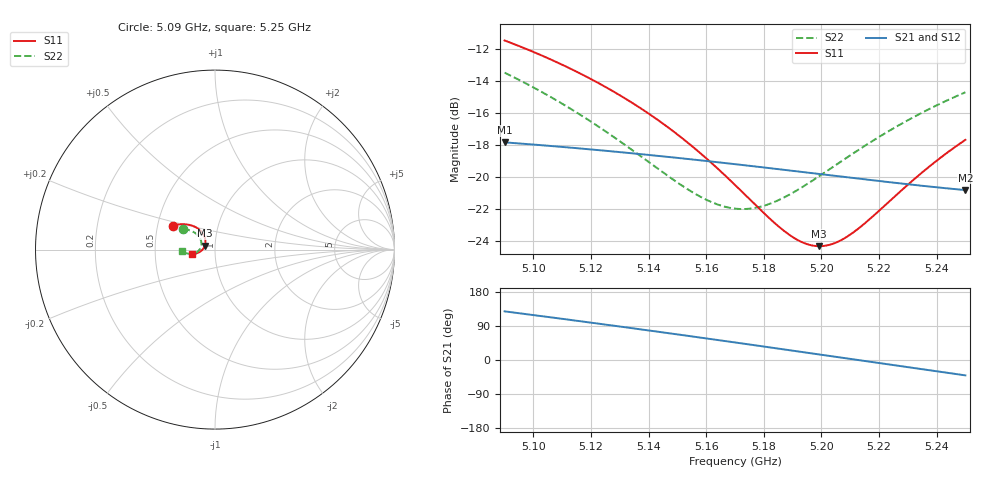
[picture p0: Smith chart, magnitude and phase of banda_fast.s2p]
! Touchstone file exported from HFSS 2024.2.0
!  File:  D:/dev/EMBRAER/P2M21/R12_Quatro_8Passes_Fast/antena/P2M21_4_elementos.aedt
!  Generated:  05:20:02 PM Nov  9, 2026
!  Design:  Quatro_elementos
!  Project:  P2M21_4_elementos
!  Setup:  Centro
!  Solution:  Banda_Fast
# GHz S RI R 50.000000
! Terminal data exported
! Port[1] = A
! Port[2] = B
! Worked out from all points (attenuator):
!   161 points, 5.09 GHz to 5.25 GHz, reference 50 ohm
!   highest |S21| = -17.82 dB at 5.09 GHz (marker M1); lowest = -20.8 dB at 5.25 GHz (marker M2)
!   lowest |S11| = -24.3 dB at 5.199 GHz (marker M3), VSWR 1.13, Z = 44.6 + j1.89 ohm
!   |S11| at or under -10 dB: start of sweep to end of sweep
!   |S22| runs from -22.0 to -13.5 dB; largest |S21 - S12| = 1.1e-15
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5.09  -0.2326 0.1329  -0.0798 0.1008  -0.0798 0.1008  -0.1795 0.1135
! Gamma 0 0 0 0
! Port Impedance 50 0 50 0
5.104  -0.1918 0.1409  -0.0524 0.1143  -0.0524 0.1143  -0.1464 0.109
5.117  -0.1558 0.1401  -0.0248 0.1204  -0.0248 0.1204  -0.12 0.0986
5.131  -0.1209 0.1311  0.00552 0.1195  0.00552 0.1195  -0.0978 0.0822
5.144  -0.0937 0.1163  0.0323 0.1119  0.0323 0.1119  -0.0837 0.0635
5.153  -0.0785 0.1031  0.0493 0.1031  0.0493 0.1031  -0.078 0.0495
5.159  -0.0703 0.0933  0.0596 0.0957  0.0596 0.0957  -0.0761 0.0401
5.165  -0.0636 0.0828  0.0689 0.0873  0.0689 0.0873  -0.0756 0.0306
5.17  -0.0592 0.0738  0.0759 0.0795  0.0759 0.0795  -0.0764 0.023
5.176  -0.0556 0.0627  0.0831 0.0695  0.0831 0.0695  -0.0787 0.0142
5.182  -0.0536 0.0515  0.0891 0.0588  0.0891 0.0588  -0.0823 0.00589
5.186  -0.0532 0.0441  0.0924 0.0514  0.0924 0.0514  -0.0855 0.000771
5.19  -0.0536 0.0368  0.0951 0.0439  0.0951 0.0439  -0.0893 -0.00397
5.194  -0.0547 0.0297  0.0972 0.0362  0.0972 0.0362  -0.0936 -0.0083
5.197  -0.056 0.0245  0.0984 0.0303  0.0984 0.0303  -0.0971 -0.0113
5.199  -0.0571 0.0212  0.099 0.0264  0.099 0.0264  -0.0996 -0.0131
5.204  -0.0605 0.0131  0.0998 0.0167  0.0998 0.0167  -0.1064 -0.017
5.209  -0.065 0.00559  0.0997 0.00704  0.0997 0.00704  -0.1137 -0.0201
5.215  -0.0716 -0.00249  0.0984 -0.00433  0.0984 -0.00433  -0.1232 -0.0227
5.224  -0.0838 -0.0124  0.0942 -0.0206  0.0942 -0.0206  -0.1385 -0.0238
5.238  -0.1068 -0.0217  0.0828 -0.0433  0.0828 -0.0433  -0.1633 -0.019
5.25  -0.1289 -0.0231  0.0692 -0.0594  0.0692 -0.0594  -0.1842 -0.00848
